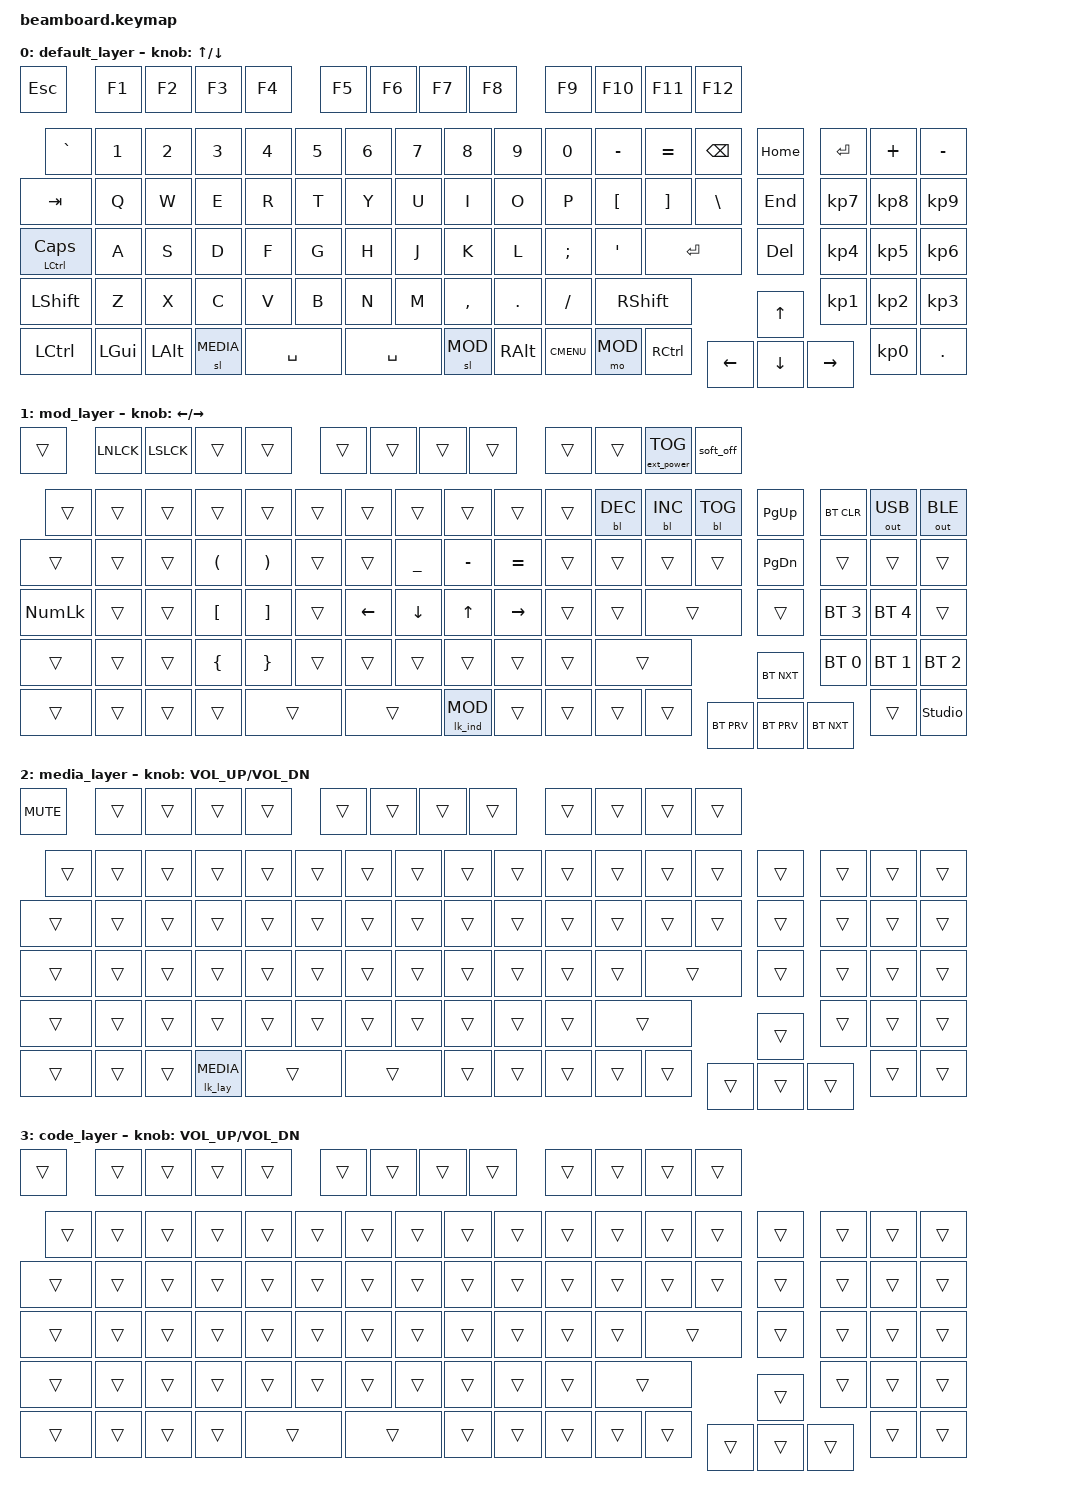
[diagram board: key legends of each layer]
/*
 * Copyright (c) 2022 The ZMK Contributors
 *
 * SPDX-License-Identifier: MIT
 */

#include <behaviors.dtsi>
#include <dt-bindings/zmk/keys.h>
#include <dt-bindings/zmk/bt.h>
#include <dt-bindings/zmk/outputs.h>
#include <dt-bindings/zmk/ext_power.h>
#include <dt-bindings/zmk/backlight.h>

#define DEFAULT 0
#define MOD 1
#define MEDIA 2
#define CODE 3

&sl {
    release-after-ms = <250>; // After key release, hold for 250ms
};

&soft_off {
    hold-time-ms = <1>; // Turn off keyboard after holding for 1ms
};

/ {
    macros {
        lk_lay: lock_layer {
            compatible = "zmk,behavior-macro-one-param";
            #binding-cells = <1>;
            bindings
                = <&macro_tap &kp K_CANCEL>
                , <&macro_param_1to1>
                , <&tog MACRO_PLACEHOLDER>
                ;
        };

        lk_ind: lock_indicate {
            compatible = "zmk,behavior-macro-one-param";
            #binding-cells = <1>;
            bindings
                = <&macro_tap &kp K_CANCEL>
                , <&bl BL_TOG>
                , <&macro_param_1to1>
                , <&tog MACRO_PLACEHOLDER>
                ;
        };
    };

    combos {
        compatible = "zmk,combos";
            cmb_star {
                timeout-ms = <50>;
                key-positions = <28 29>;
                bindings = <&kp STAR>;
            };

            cmb_fslh {
                timeout-ms = <50>;
                key-positions = <29 30>;
                bindings = <&kp FSLH>;
            };

            // Enables mod layer even with VCC-off
            cmb_layr {
                timeout-ms = <50>;
                key-positions = <27 45>;
                bindings = <&tog MOD>;
            };
    };

    behaviors {
        ht: hold_tap {
            compatible = "zmk,behavior-hold-tap";
            #binding-cells = <2>;
            flavor = "balanced";
            tapping-term-ms = <400>;
            bindings = <&kp>, <&kp>;
        };
    };

    keymap {
        compatible = "zmk,keymap";

        default_layer {
            bindings = <
                &kp ESC     &kp F1      &kp F2      &kp F3      &kp F4            &kp F5      &kp F6      &kp F7      &kp F8            &kp F9      &kp F10     &kp F11     &kp F12
                &kp GRAVE   &kp N1      &kp N2      &kp N3      &kp N4      &kp N5      &kp N6      &kp N7      &kp N8      &kp N9      &kp N0      &kp MINUS   &kp EQUAL   &kp BSPC    &kp HOME    &kp ENTER   &kp PLUS    &kp MINUS
                &kp TAB     &kp Q       &kp W       &kp E       &kp R       &kp T       &kp Y       &kp U       &kp I       &kp O       &kp P       &kp LBKT    &kp RBKT    &kp BSLH    &kp END     &kp KP_N7   &kp KP_N8   &kp KP_N9
             &ht LCTRL CAPS &kp A       &kp S       &kp D       &kp F       &kp G       &kp H       &kp J       &kp K       &kp L       &kp SEMI    &kp APOS        &kp ENTER           &kp DEL     &kp KP_N4   &kp KP_N5   &kp KP_N6
                &kp LSHFT   &kp Z       &kp X       &kp C       &kp V       &kp B       &kp N       &kp M       &kp COMMA   &kp PERIOD  &kp SLASH       &kp RSHFT                       &kp UP      &kp KP_N1   &kp KP_N2   &kp KP_N3
                &kp LCTRL   &kp LGUI    &kp LALT    &sl MEDIA        &kp SPACE               &kp SPACE          &sl MOD     &kp RALT    &kp K_CMENU &mo MOD     &kp RCTRL   &kp LEFT    &kp DOWN    &kp RIGHT   &kp KP_N0   &kp DOT
            >;
            sensor-bindings = <&inc_dec_kp UP_ARROW DOWN_ARROW>;
        };

        mod_layer {
            bindings = <
                &trans      &kp LNLCK   &kp LSLCK   &trans      &trans            &trans      &trans      &trans      &trans            &trans      &trans &ext_power EP_TOG &soft_off
                &trans      &trans      &trans      &trans      &trans      &trans      &trans      &trans      &trans      &trans      &trans      &bl BL_DEC  &bl BL_INC  &bl BL_TOG  &kp PG_UP  &bt BT_CLR   &out OUT_USB &out OUT_BLE
                &trans      &trans      &trans      &kp LPAR    &kp RPAR    &trans      &trans      &kp UNDER   &kp MINUS   &kp EQUAL   &trans      &trans      &trans      &trans      &kp PG_DN  &trans       &trans       &trans
                &kp KP_NUM  &trans      &trans      &kp LBKT    &kp RBKT    &trans      &kp LEFT    &kp DOWN    &kp UP      &kp RIGHT   &trans      &trans          &trans              &trans     &bt BT_SEL 3 &bt BT_SEL 4 &trans
                &trans      &trans      &trans      &kp LBRC    &kp RBRC    &trans      &trans      &trans      &trans      &trans      &trans          &trans                          &bt BT_NXT &bt BT_SEL 0 &bt BT_SEL 1 &bt BT_SEL 2
                &trans      &trans      &trans      &trans           &trans                  &trans             &lk_ind MOD &trans      &trans      &trans      &trans      &bt BT_PRV  &bt BT_PRV &bt BT_NXT   &trans       &studio_unlock
            >;
            sensor-bindings = <&inc_dec_kp LEFT_ARROW RIGHT_ARROW>;
        };

        media_layer {
            bindings = <
                &kp C_MUTE  &trans      &trans      &trans      &trans            &trans      &trans      &trans      &trans            &trans      &trans      &trans      &trans
                &trans      &trans      &trans      &trans      &trans      &trans      &trans      &trans      &trans      &trans      &trans      &trans      &trans      &trans      &trans    &trans      &trans       &trans
                &trans      &trans      &trans      &trans      &trans      &trans      &trans      &trans      &trans      &trans      &trans      &trans      &trans      &trans      &trans    &trans      &trans       &trans
                &trans      &trans      &trans      &trans      &trans      &trans      &trans      &trans      &trans      &trans      &trans      &trans          &trans              &trans    &trans      &trans       &trans
                &trans      &trans      &trans      &trans      &trans      &trans      &trans      &trans      &trans      &trans      &trans          &trans                          &trans    &trans      &trans       &trans
                &trans      &trans      &trans      &lk_lay MEDIA    &trans                  &trans             &trans      &trans      &trans      &trans      &trans      &trans      &trans    &trans      &trans       &trans
            >;
            sensor-bindings = <&inc_dec_kp C_VOL_UP C_VOL_DN>;
        };

        code_layer {
            bindings = <
                &trans      &trans      &trans      &trans      &trans            &trans      &trans      &trans      &trans            &trans      &trans      &trans      &trans
                &trans      &trans      &trans      &trans      &trans      &trans      &trans      &trans      &trans      &trans      &trans      &trans      &trans      &trans      &trans    &trans      &trans       &trans
                &trans      &trans      &trans      &trans      &trans      &trans      &trans      &trans      &trans      &trans      &trans      &trans      &trans      &trans      &trans    &trans      &trans       &trans
                &trans      &trans      &trans      &trans      &trans      &trans      &trans      &trans      &trans      &trans      &trans      &trans          &trans              &trans    &trans      &trans       &trans
                &trans      &trans      &trans      &trans      &trans      &trans      &trans      &trans      &trans      &trans      &trans          &trans                          &trans    &trans      &trans       &trans
                &trans      &trans      &trans      &trans           &trans                  &trans             &trans      &trans      &trans      &trans      &trans      &trans      &trans    &trans      &trans       &trans
            >;
            sensor-bindings = <&inc_dec_kp C_VOL_UP C_VOL_DN>;
        };

        // Extra layers for ZMK Studio
        extra1 {
            status = "reserved";
        };

        extra2 {
            status = "reserved";
        };
    };
};
